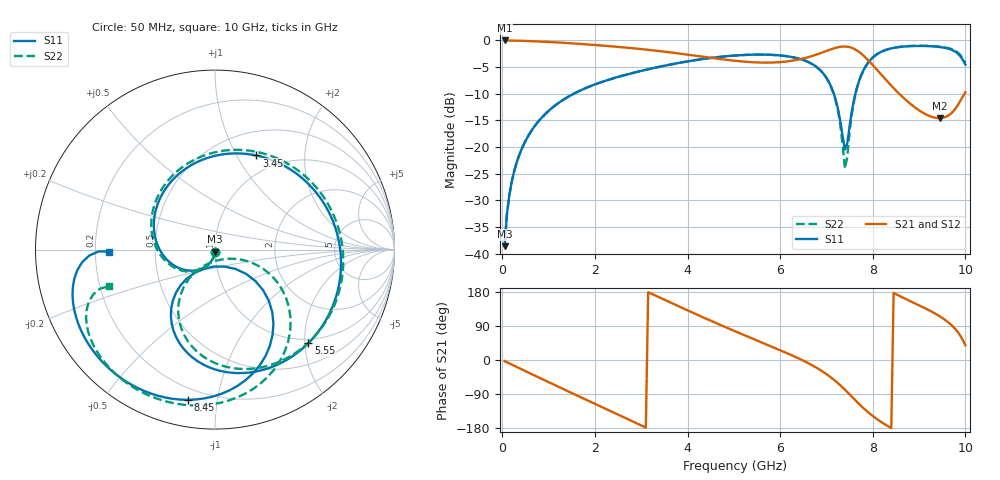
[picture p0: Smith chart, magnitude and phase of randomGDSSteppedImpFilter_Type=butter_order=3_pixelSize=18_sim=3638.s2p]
! freq	dB(S11)	phase(S11)	dB(S12)	phase(S12)
!  dB(S21)	phase(S21)	dB(S22)	phase(S22)
!S-par simulation data
#  GHz  S  DB  R 50
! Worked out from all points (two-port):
!   200 points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, 50 MHz to 10 GHz, reference 50 ohm
!   highest |S21| = -0.01 dB at 50 MHz (marker M1); lowest = -14.6 dB at 9.45 GHz (marker M2)
!   |S21| within 3 dB of the highest: start of sweep to 4.287 GHz; 6.659 GHz to 7.819 GHz (1.16 GHz wide, 16 % of centre)
!   lowest |S11| = -38.6 dB at 50 MHz (marker M3), VSWR 1.02, Z = 49.9 - j1.17 ohm
!   |S11| at or under -10 dB: start of sweep to 1.542 GHz; 7.159 GHz to 7.625 GHz (466.3 MHz wide, 6.31 % of centre)
!   |S22| runs from -38.6 to -1.0 dB; largest |S21 - S12| = 0
!   S11 on the Smith chart (normalised r, x): 50 MHz: 1.00, -0.02; 3.45 GHz: 0.77, +1.21; 5.55 GHz: 0.91, -2.08; 8.45 GHz: 0.14, -0.83; 10 GHz: 0.26, -0.01
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0.05  -38.60 -92.4  -0.01 -3.0  -0.01 -3.0  -38.60 -92.3
0.2  -26.68 -102.1  -0.03 -11.8  -0.03 -11.8  -26.68 -101.5
0.5  -18.88 -120.6  -0.10 -29.4  -0.10 -29.4  -18.87 -119.1
1.15  -12.14 -159.6  -0.36 -67.1  -0.36 -67.1  -12.14 -156.0
1.75  -9.13 165.0  -0.70 -101.4  -0.70 -101.4  -9.14 170.5
2.6  -6.60 115.3  -1.29 -149.8  -1.29 -149.8  -6.61 123.4
3.4  -4.93 69.1  -2.00 164.7  -2.00 164.7  -4.94 78.8
3.45  -4.84 66.3  -2.05 161.9  -2.05 161.9  -4.84 76.0
4.25  -3.59 21.7  -2.96 117.2  -2.96 117.2  -3.59 32.0
5.05  -2.82 -20.2  -3.84 74.7  -3.84 74.7  -2.82 -10.2
5.55  -2.66 -45.0  -4.15 49.1  -4.15 49.1  -2.66 -35.5
6.2  -3.04 -77.3  -3.89 15.4  -3.89 15.4  -3.03 -68.4
6.7  -4.47 -104.7  -2.90 -14.5  -2.90 -14.5  -4.48 -96.7
7.15  -9.76 -132.1  -1.52 -51.0  -1.52 -51.0  -9.90 -127.1
7.3  -15.20 -131.3  -1.20 -66.9  -1.20 -66.9  -15.92 -131.1
7.4  -20.45 -94.3  -1.14 -78.5  -1.14 -78.5  -24.07 -89.5
7.55  -13.17 -38.0  -1.40 -97.0  -1.40 -97.0  -13.65 -19.2
7.75  -6.52 -47.5  -2.47 -121.4  -2.47 -121.4  -6.59 -33.3
8.35  -1.61 -94.1  -8.03 -176.1  -8.03 -176.1  -1.58 -81.7
8.45  -1.41 -100.2  -8.95 177.1  -8.95 177.1  -1.38 -87.8
9.45  -1.24 -151.5  -14.58 115.0  -14.58 115.0  -1.17 -136.9
10  -4.54 -178.9  -9.72 38.9  -9.72 38.9  -4.07 -161.0
